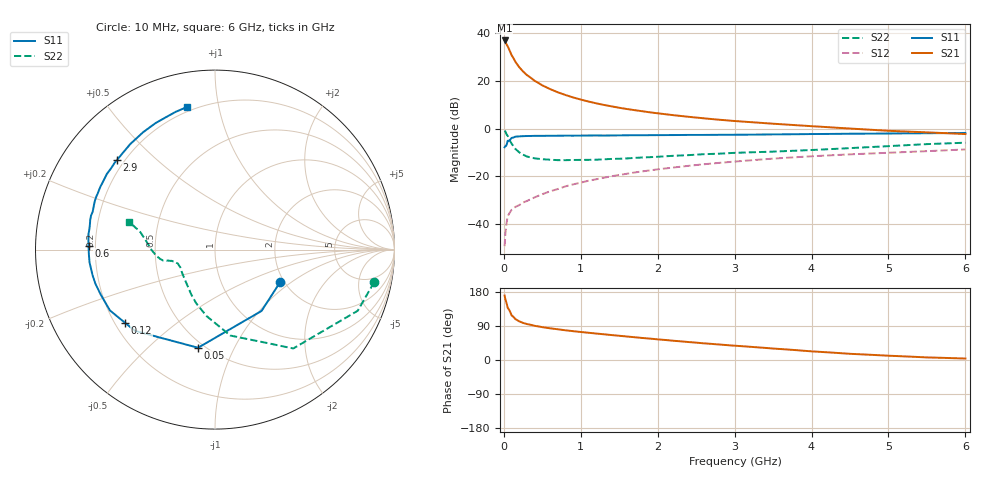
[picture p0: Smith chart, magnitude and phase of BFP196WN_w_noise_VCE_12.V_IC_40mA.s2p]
! Infineon Technologies  Discrete & RF Semiconductors
! BFP196WN
! VCE =  12. V,  IC =  40 mA
! Common Emitter S-Parameters:  Jan 2017
# GHz  S  MA  R  50
!  f  S11  S21  S12  S22
! GHz  MAG  ANG  MAG  ANG  MAG  ANG  MAG  ANG
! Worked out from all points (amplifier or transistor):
!   77 points, 10 MHz to 6 GHz, reference 50 ohm
!   highest |S21| = 37.0 dB at 10 MHz (marker M1)
!   |S21| within 3 dB of that: start of sweep to 58.17 MHz
!   unconditionally stable (mu >= 1): 740.3 MHz to 2.671 GHz
!   at 130 MHz: K = 0.46, MSG = 31.3 dB, |S12| = -33.4 dB
!   at 2.2 GHz: K = 1.02, MAG = 10.1 dB, |S12| = -16.4 dB
!   at 6 GHz: K = 0.89, MSG = 3.2 dB, |S12| = -8.8 dB
!   lowest NFmin = 1.16 dB at 450 MHz
!   S11 on the Smith chart (normalised r, x): 10 MHz: 1.91, -0.83; 50 MHz: 0.46, -0.73; 120 MHz: 0.24, -0.34; 600 MHz: 0.17, +0.01; 2.9 GHz: 0.17, +0.38; 6 GHz: 0.18, +0.80
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0.01  0.4058 -26.5  70.62 170.1  0.0034 68.0  0.905 -11.6
0.02  0.429 -52.8  66.17 159.9  0.0062 66.3  0.8651 -23.2
0.05  0.5549 -99.8  53.33 137.7  0.0143 53.8  0.7027 -51.6
0.1  0.6357 -134.6  34.89 117.9  0.0197 45.6  0.4863 -79.9
0.12  0.6463 -140.9  30.92 114.7  0.0209 45.3  0.4369 -85.7
0.15  0.6763 -149.9  25.22 108.0  0.0227 44.9  0.3738 -97.1
0.2  0.6845 -158.6  19.43 102.0  0.0247 45.7  0.317 -109.3
0.25  0.6929 -164.1  15.77 97.9  0.0281 49.1  0.2832 -117.8
0.3  0.697 -168.2  13.26 94.9  0.0302 51.5  0.2591 -125.0
0.4  0.7026 -174.1  10.06 90.2  0.0359 56.1  0.2373 -134.8
0.5  0.7033 -178.2  8.068 86.7  0.0419 58.7  0.2274 -142.1
0.6  0.7049 178.4  6.747 83.7  0.0481 61.1  0.222 -147.2
0.7  0.7071 175.7  5.783 81.1  0.0537 63.5  0.2173 -150.7
0.8  0.7101 173.0  5.067 78.4  0.0611 64.8  0.217 -153.2
1.1  0.7145 166.7  3.693 71.9  0.0804 65.9  0.2204 -158.9
1.5  0.719 159.6  2.73 63.9  0.106 65.4  0.2322 -163.2
2.1  0.7291 149.7  2 52.8  0.1455 63.0  0.2618 -166.3
2.9  0.7399 137.6  1.485 39.3  0.1966 57.9  0.303 -169.3
3.1  0.7429 134.6  1.403 36.4  0.2088 56.3  0.3129 -171.0
4.1  0.7686 120.1  1.097 21.6  0.2669 48.4  0.3608 178.5
5.1  0.7892 109.2  0.884 10.5  0.3153 41.1  0.4359 166.2
6  0.809 101.3  0.767 3.9  0.3644 35.1  0.5045 162.5
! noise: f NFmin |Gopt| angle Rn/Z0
0.45  1.16  0.5  -179  0.04
0.9  1.29  0.54  -173  0.05
1.9  2.21  0.68  -148  0.13
2.4  2.95  0.69  -141  0.26
